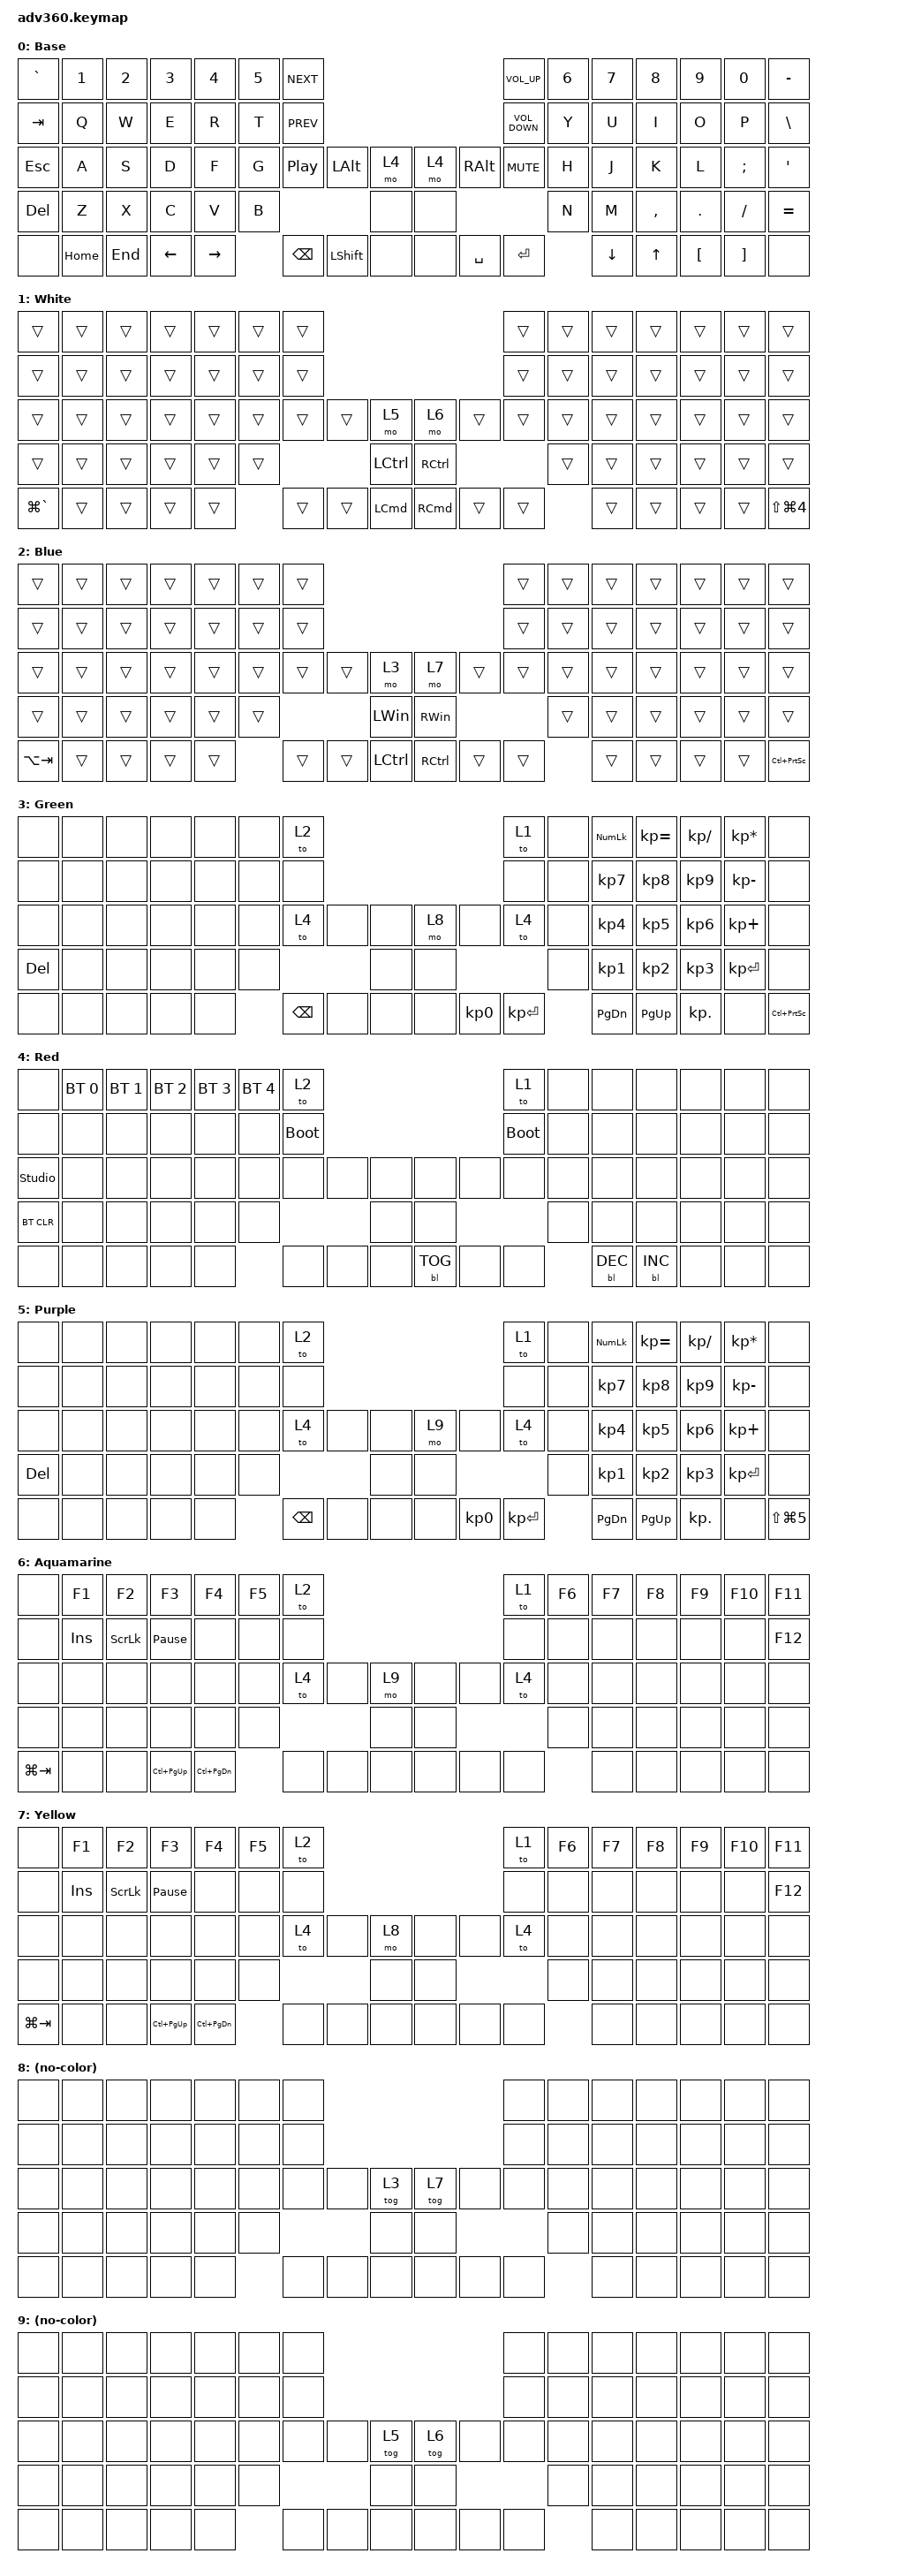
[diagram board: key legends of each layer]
#include <dt-bindings/zmk/stp.h>
#include <behaviors.dtsi>
#include <dt-bindings/zmk/backlight.h>
#include <dt-bindings/zmk/bt.h>
#include <dt-bindings/zmk/keys.h>

/ {
    behaviors {
        #include "macros.dtsi"
      #include "version.dtsi"

        hm: homerow_mods {
            compatible = "zmk,behavior-hold-tap";
            label = "HOMEROW_MODS";
            #binding-cells = <2>;
            tapping-term-ms = <200>;
            quick_tap_ms = <175>;
            flavor = "tap-preferred";
            bindings = <&kp>, <&kp>;
        };
    };

    keymap {
        compatible = "zmk,keymap";

        default_layer {
            display-name = "Base";
            bindings = <
&kp GRAVE  &kp N1    &kp N2   &kp N3    &kp N4     &kp N5  &kp C_NEXT                                                   &kp C_VOLUME_UP    &kp N6  &kp N7    &kp N8        &kp N9    &kp N0    &kp MINUS
&kp TAB    &kp Q     &kp W    &kp E     &kp R      &kp T   &kp C_PREV                                                   &kp C_VOLUME_DOWN  &kp Y   &kp U     &kp I         &kp O     &kp P     &kp BSLH
&kp ESC    &kp A     &kp S    &kp D     &kp F      &kp G   &kp C_PP    &kp LEFT_ALT    &mo 4      &mo 4  &kp RIGHT_ALT  &kp C_MUTE         &kp H   &kp J     &kp K         &kp L     &kp SEMI  &kp SQT
&kp DEL    &kp Z     &kp X    &kp C     &kp V      &kp B                               &none      &none                                    &kp N   &kp M     &kp COMMA     &kp DOT   &kp FSLH  &kp EQUAL
&none      &kp HOME  &kp END  &kp LEFT  &kp RIGHT          &kp BSPC    &kp LEFT_SHIFT  &none      &none  &kp SPACE      &kp ENTER                  &kp DOWN  &kp UP_ARROW  &kp LBKT  &kp RBKT  &none
            >;
        };

        mac_base {
            display-name = "White";
            bindings = <
&trans         &trans  &trans  &trans  &trans  &trans  &trans                                                           &trans  &trans  &trans  &trans  &trans  &trans  &trans
&trans         &trans  &trans  &trans  &trans  &trans  &trans                                                           &trans  &trans  &trans  &trans  &trans  &trans  &trans
&trans         &trans  &trans  &trans  &trans  &trans  &trans  &trans  &mo 5                 &mo 6              &trans  &trans  &trans  &trans  &trans  &trans  &trans  &trans
&trans         &trans  &trans  &trans  &trans  &trans                  &kp LCTRL             &kp RCTRL                          &trans  &trans  &trans  &trans  &trans  &trans
&kp LG(GRAVE)  &trans  &trans  &trans  &trans          &trans  &trans  &kp LEFT_COMMAND      &kp RIGHT_COMMAND  &trans  &trans          &trans  &trans  &trans  &trans  &kp LS(LG(NUMBER_4))
            >;
        };

        win_base {
            display-name = "Blue";
            bindings = <
&trans       &trans  &trans  &trans  &trans  &trans  &trans                                                   &trans  &trans  &trans  &trans  &trans  &trans  &trans
&trans       &trans  &trans  &trans  &trans  &trans  &trans                                                   &trans  &trans  &trans  &trans  &trans  &trans  &trans
&trans       &trans  &trans  &trans  &trans  &trans  &trans  &trans  &mo 3             &mo 7          &trans  &trans  &trans  &trans  &trans  &trans  &trans  &trans
&trans       &trans  &trans  &trans  &trans  &trans                  &kp LEFT_WIN      &kp RIGHT_WIN                  &trans  &trans  &trans  &trans  &trans  &trans
&kp LA(TAB)  &trans  &trans  &trans  &trans          &trans  &trans  &kp LCTRL         &kp RCTRL      &trans  &trans          &trans  &trans  &trans  &trans  &kp LC(PRINTSCREEN)
            >;
        };

        win_keypad {
            display-name = "Green";
            bindings = <
&none       &none  &none  &none  &none  &none  &to 2                                                    &to 1         &none  &kp KP_NUM       &kp KP_EQUAL     &kp KP_DIVIDE    &kp KP_MULTIPLY  &none
&none       &none  &none  &none  &none  &none  &none                                                    &none         &none  &kp KP_NUMBER_7  &kp KP_NUMBER_8  &kp KP_NUMBER_9  &kp KP_MINUS     &none
&none       &none  &none  &none  &none  &none  &to 4          &none  &none      &mo 8  &none            &to 4         &none  &kp KP_NUMBER_4  &kp KP_NUMBER_5  &kp KP_NUMBER_6  &kp KP_PLUS      &none
&kp DELETE  &none  &none  &none  &none  &none                        &none      &none                                 &none  &kp KP_NUMBER_1  &kp KP_NUMBER_2  &kp KP_NUMBER_3  &kp KP_ENTER     &none
&none       &none  &none  &none  &none         &kp BACKSPACE  &none  &none      &none  &kp KP_NUMBER_0  &kp KP_ENTER         &kp PAGE_DOWN    &kp PAGE_UP      &kp KP_DOT       &none            &kp LC(PRINTSCREEN)
            >;
        };

        mod_layer {
            display-name = "Red";
            bindings = <
&none           &bt BT_SEL 0  &bt BT_SEL 1  &bt BT_SEL 2  &bt BT_SEL 3  &bt BT_SEL 4  &to 2                                             &to 1        &none  &none       &none       &none  &none  &none
&none           &none         &none         &none         &none         &none         &bootloader                                       &bootloader  &none  &none       &none       &none  &none  &none
&studio_unlock  &none         &none         &none         &none         &none         &none        &none  &none      &none       &none  &none        &none  &none       &none       &none  &none  &none
&bt BT_CLR      &none         &none         &none         &none         &none                             &none      &none                           &none  &none       &none       &none  &none  &none
&none           &none         &none         &none         &none                       &none        &none  &none      &bl BL_TOG  &none  &none               &bl BL_DEC  &bl BL_INC  &none  &none  &none
            >;
        };

        mac_keypad {
            display-name = "Purple";
            bindings = <
&none    &none  &none  &none  &none  &none  &to 2                                                    &to 1         &none  &kp KP_NUM       &kp KP_EQUAL     &kp KP_DIVIDE    &kp KP_MULTIPLY  &none
&none    &none  &none  &none  &none  &none  &none                                                    &none         &none  &kp KP_NUMBER_7  &kp KP_NUMBER_8  &kp KP_NUMBER_9  &kp KP_MINUS     &none
&none    &none  &none  &none  &none  &none  &to 4          &none  &none      &mo 9  &none            &to 4         &none  &kp KP_NUMBER_4  &kp KP_NUMBER_5  &kp KP_NUMBER_6  &kp KP_PLUS      &none
&kp DEL  &none  &none  &none  &none  &none                        &none      &none                                 &none  &kp KP_NUMBER_1  &kp KP_NUMBER_2  &kp KP_NUMBER_3  &kp KP_ENTER     &none
&none    &none  &none  &none  &none         &kp BACKSPACE  &none  &none      &none  &kp KP_NUMBER_0  &kp KP_ENTER         &kp PAGE_DOWN    &kp PAGE_UP      &kp KP_DOT       &none            &kp LS(LG(NUMBER_5))
            >;
        };

        mac_function {
            display-name = "Aquamarine";
            bindings = <
&none        &kp F1      &kp F2          &kp F3           &kp F4             &kp F5  &to 2                                  &to 1  &kp F6  &kp F7  &kp F8  &kp F9  &kp F10  &kp F11
&none        &kp INSERT  &kp SCROLLLOCK  &kp PAUSE_BREAK  &none              &none   &none                                  &none  &none   &none   &none   &none   &none    &kp F12
&none        &none       &none           &none            &none              &none   &to 4  &none  &mo 9      &none  &none  &to 4  &none   &none   &none   &none   &none    &none
&none        &none       &none           &none            &none              &none                 &none      &none                &none   &none   &none   &none   &none    &none
&kp LG(TAB)  &none       &none           &kp LC(PG_UP)    &kp LC(PAGE_DOWN)          &none  &none  &none      &none  &none  &none          &none   &none   &none   &none    &none
            >;
        };

        win_function {
            display-name = "Yellow";
            bindings = <
&none        &kp F1      &kp F2          &kp F3           &kp F4             &kp F5  &to 2                                  &to 1  &kp F6  &kp F7  &kp F8  &kp F9  &kp F10  &kp F11
&none        &kp INSERT  &kp SCROLLLOCK  &kp PAUSE_BREAK  &none              &none   &none                                  &none  &none   &none   &none   &none   &none    &kp F12
&none        &none       &none           &none            &none              &none   &to 4  &none  &mo 8      &none  &none  &to 4  &none   &none   &none   &none   &none    &none
&none        &none       &none           &none            &none              &none                 &none      &none                &none   &none   &none   &none   &none    &none
&kp LG(TAB)  &none       &none           &kp LC(PAGE_UP)  &kp LC(PAGE_DOWN)          &none  &none  &none      &none  &none  &none          &none   &none   &none   &none    &none
            >;
        };

        win_transition {
            display-name = "(no-color)";
            bindings = <
&none  &none  &none  &none  &none  &none  &none                                    &none  &none  &none  &none  &none  &none  &none
&none  &none  &none  &none  &none  &none  &none                                    &none  &none  &none  &none  &none  &none  &none
&none  &none  &none  &none  &none  &none  &none  &none  &tog 3      &tog 7  &none  &none  &none  &none  &none  &none  &none  &none
&none  &none  &none  &none  &none  &none                &none       &none                 &none  &none  &none  &none  &none  &none
&none  &none  &none  &none  &none         &none  &none  &none       &none   &none  &none         &none  &none  &none  &none  &none
            >;
        };

        mac_transition {
            display-name = "(no-color)";
            bindings = <
&none  &none  &none  &none  &none  &none  &none                                    &none  &none  &none  &none  &none  &none  &none
&none  &none  &none  &none  &none  &none  &none                                    &none  &none  &none  &none  &none  &none  &none
&none  &none  &none  &none  &none  &none  &none  &none  &tog 5      &tog 6  &none  &none  &none  &none  &none  &none  &none  &none
&none  &none  &none  &none  &none  &none                &none       &none                 &none  &none  &none  &none  &none  &none
&none  &none  &none  &none  &none         &none  &none  &none       &none   &none  &none         &none  &none  &none  &none  &none
            >;
        };
    };
};
